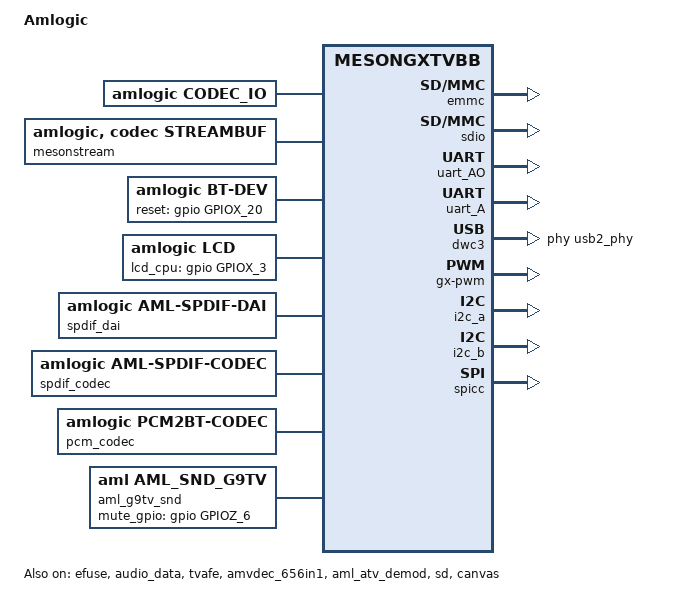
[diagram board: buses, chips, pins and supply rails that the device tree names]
/*
 * Amlogic Ltd. GXtvBaby Plaform
 *
 */

/dts-v1/;

#include <dt-bindings/interrupt-controller/arm-gic.h>
#include <dt-bindings/clock/gxtvbb.h>
#include <dt-bindings/gpio/gxtvbb.h>
#include <dt-bindings/gpio/gpio.h>
#include <dt-bindings/reset/aml_gxtvbb.h>
#include "mesongxtvbb.dtsi"

/ {
	model = "Amlogic";
	compatible = "amlogic, gxtvbb";
	interrupt-parent = <&gic>;
	#address-cells = <2>;
	#size-cells = <2>;

	aliases {
		serial0 = &uart_AO;
		serial1 = &uart_A;
	};

	memory@00000000 {
		device_type = "memory";
		linux,usable-memory = <0x0 0x1000000 0x0 0x7f000000>;
	};

	reserved-memory {
		#address-cells = <2>;
		#size-cells = <2>;
		ranges;
		/* global autoconfigured region for contiguous allocations */
		secmon_reserved:linux,secmon {
			compatible = "amlogic, aml_secmon_memory";
			reg = <0x0 0x10000000 0x0 0x200000>;
			no-map;
		};

		/*fb_reserved:linux,meson-fb {
			compatible = "amlogic, fb-memory";
			size = <0x0 0x2000000>;
			no-map;
		};*/

		di_reserved:linux,di {
			compatible = "amlogic, di-mem";
			size = <0x0 0x02200000>; //10x1920x1088x3/2=30M
			//no-map;
		};
		demod_reserved:linux,demod {
			compatible = "amlogic, demod-mem";
			size = <0x0 0x600000>; //20m
			//no-map;
		};

		ion_reserved:linux,ion-dev {
			compatible = "amlogic, idev-mem";
			size = <0x0 0x4000000>;
		};

		/*  PICDEC reserved memory */
		picdec_reserved:linux,picdec {
			compatible = "amlogic, picdec_memory";
			size = <0x0 0x4000000>;
			//no-map;
		};
		/*  POST PROCESS MANAGER */
		ppmgr_reserved:linux,ppmgr {
			compatible = "amlogic, ppmgr_memory";
			size = <0x0 0x2000000>;
		};
		/* AVC Encode CMA pool */
		avc_cma_reserved:linux,avc_cma {
			compatible = "shared-dma-pool";
			linux,phandle = <1>;
			reusable;
			size = <0x0 0x2400000>;
			alignment = <0x0 0x400000>;
			linux,contiguous-region;
		};
		/* vdec CMA pool */
		vdec_cma_reserved:linux,vdec_cma {
			compatible = "shared-dma-pool";
			linux,phandle = <2>;
			reusable;
			size = <0x0 0x12000000>;
			alignment = <0x0 0x400000>;
		};

		jpegenc_cma_reserved:linux,jpegenc_cma {
			compatible = "shared-dma-pool";
			linux,phandle = <3>;
			reusable;
			size = <0x0 0x2400000>;
			alignment = <0x0 0x400000>;
		};
		/*  vdin0 CMA pool */
		vdin0_cma_reserved:linux,vdin0_cma {
			compatible = "shared-dma-pool";
			linux,phandle = <4>;
			reusable;
			/* 3840x2160x2x4  =64+4 M */
			size = <0x0 0x04400000>;
			alignment = <0x0 0x400000>;
		};
		/*  vdin1 CMA pool */
		vdin1_cma_reserved:linux,vdin1_cma {
			compatible = "shared-dma-pool";
			linux,phandle = <5>;
			reusable;
			/* 1920x1080x2x4  =16+4 M */
			size = <0x0 0x01400000>;
			alignment = <0x0 0x400000>;
		};
		/*  tvafe CMA pool */
		tvafe_cma_reserved:linux,tvafe_cma {
			compatible = "shared-dma-pool";
			linux,phandle = <6>;
			reusable;
			/* 5 M */
			size = <0x0 0x00800000>;
			alignment = <0x0 0x400000>;
		};
	};

	meson-vout {
		compatible = "amlogic, meson-vout";
		dev_name = "meson-vout";
		status = "okay";
	};
	meson-fb {
		compatible = "amlogic, meson-fb";
		/*memory-region = <&fb_reserved>;*/
		dev_name = "meson-fb";
		status = "okay";
		interrupts = <0 3 1
			0 89 1>;
		interrupt-names = "viu-vsync", "rdma";
		mem_size = <0x01800000 0x00100000>; /* fb0/fb1 memory size */
		display_mode_default = "1080p60hz";
		scale_mode = <1>; /** 0:VPU free scale 1:OSD free scale 2:OSD super scale */
		display_size_default = <1920 1080 1920 3240 32>; //1920*1080*4*3 = 0x17BB000
		/*pxp_mode = <1>; /** 0:normal mode 1:pxp mode */
	};
	ge2d {
		compatible = "amlogic, ge2d";
		dev_name = "ge2d";
		status = "okay";
		interrupts = <0 150 1>;
		interrupt-names = "ge2d";
		clocks = <&clock CLK_VAPB_0>,
			<&clock CLK_GE2D>;
		clock-names = "clk_vapb_0",
				"clk_ge2d";
		resets = <&clock GCLK_IDX_GE2D>;
		reset-names = "ge2d";
	};
	codec_io {
		compatible = "amlogic, codec_io";
		#address-cells=<2>;
		#size-cells=<2>;
		ranges;
		io_cbus_base{
			reg = <0x0 0xC0800000 0x0 0xb00000>;
		};
		io_dos_base{
			reg = <0x0 0xc8820000 0x0 0x10000>;
		};
		io_hiubus_base{
			reg = <0x0 0xc883c000 0x0 0x2000>;
		};
		io_aobus_base{
			reg = <0x0 0xc8100000 0x0 0x100000>;
		};
		io_vcbus_base{
			reg = <0x0 0xd0100000 0x0 0x40000>;
		};
		io_dmc_base{
			reg = <0x0 0xc8838000 0x0 0x2000>;
		};
	};

	mesonstream {
		compatible = "amlogic, codec, streambuf";
		dev_name = "mesonstream";
		status = "okay";
		resets = <&clock GCLK_IDX_HIU_PARSER_TOP
			&clock GCLK_IDX_VPU_INTR
			&clock GCLK_IDX_DEMUX
			&clock GCLK_IDX_DOS>;
		reset-names = "parser_top",
			"vpu_intr",
			"demux",
			"vdec";
	};

	amvideocap {
		compatible = "amlogic, amvideocap";
		dev_name = "amvideocap.0";
		status = "okay";
	};

	ion_dev {
		compatible = "amlogic, ion_dev";
		memory-region = <&ion_reserved>;
	};

	vdec {
		compatible = "amlogic, vdec";
		memory-region = <&vdec_cma_reserved>;
		dev_name = "vdec.0";
		status = "okay";
		interrupts = <0 3 1
			0 23 1
			0 32 1
			0 43 1
			0 44 1
			0 45 1>;
		interrupt-names = "vsync",
			"demux",
			"parser",
			"mailbox_0",
			"mailbox_1",
			"mailbox_2";
	};
	picdec {
		   compatible = "amlogic, picdec";
		   memory-region = <&picdec_reserved>;
		   dev_name = "picdec";
		   status = "okay";
	};
	ppmgr {
		compatible = "amlogic, ppmgr";//to match of_device_id's compatible member
		memory-region = <&ppmgr_reserved>;
		dev_name = "ppmgr";
		status = "okay";
	};
	deinterlace {
		compatible = "amlogic, deinterlace";
		status = "okay";
		memory-region = <&di_reserved>;
		interrupts = <0 46 1
				0 6 1>;
		interrupt-names = "de_irq",
				"timerc";
		buffer-size = <3133440>;	//1920x1088x3/2
		hw-version = <2>;
	};
	vdin0 {
		compatible = "amlogic, vdin";
		memory-region = <&vdin0_cma_reserved>;
		dev_name = "vdin0";
		status = "ok";
		reserve-iomap = "true";
		interrupts = <0 83 1>;
		rdma-irq = <2>;
		clocks = <&clock CLK_XTAL>,
			<&clock CLK_VDIN_MEAS_CLK>;
		clock-names = "xtal", "cts_vdin_meas_clk";
		vdin_id = <0>;
	};
	vdin1 {
		compatible = "amlogic, vdin";
		memory-region = <&vdin1_cma_reserved>;
		dev_name = "vdin1";
		status = "ok";
		reserve-iomap = "true";
		interrupts = <0 85 1>;
		rdma-irq = <4>;
		clocks = <&clock CLK_XTAL>,
			<&clock CLK_VDIN_MEAS_CLK>;
		clock-names = "xtal", "cts_vdin_meas_clk";
		vdin_id = <1>;
	};
	hdmirx {
		compatible = "amlogic, hdmirx";
		dev_name = "hdmirx";
		status = "ok";
		interrupts = <0 56 1>;
		clocks = <&clock CLK_HDMIRX_MODET_CLK>,
			<&clock CLK_HDMIRX_CFG_CLK>,
			<&clock CLK_HDMIRX_ACR_REF_CLK>,
			<&clock CLK_HDMIRX_AUDMEAS_CLK>,
			<&clock CLK_XTAL>,
			<&clock CLK_FPLL_DIV5>;
		clock-names = "hdmirx_modet_clk",
			"hdmirx_cfg_clk",
			"hdmirx_acr_ref_clk",
			"hdmirx_audmeas_clk",
			"xtal",
			"fclk_div5";
		hdmirx_id = <0>;
 	};
	tvafe {
		compatible = "amlogic, tvafe";
		memory-region = <&tvafe_cma_reserved>;
		dev_name = "tvafe";
		status = "ok";
		reg = <0x0 0xc8842000 0x0 0x2000>;
		reserve-iomap = "true";
		tvafe_id = <0>;
		pinctrl-names = "default";
		tvafe_pin_mux = < /*!!particular sequence, no more and no less!!!*/
                        2       /*// TVAFE_CVBS_IN1,  //CVBS_IN0 = 0,*/
                        1       /*// TVAFE_CVBS_IN0,    //CVBS_IN1,*/
                        3       /*// TVAFE_CVBS_IN2,  //CVBS_IN2*/
                        4       /*// TVAFE_CVBS_IN3,    //CVBS_IN3,*/
		>;
	};
	amvdec_656in1 {
		compatible = "amlogic, amvdec_656in";
		dev_name = "amvdec_656in1";
		status = "ok";
		reg = <0x0 0xd0050000 0x0 0x7c>;
		clocks = <&clock CLK_FPLL_DIV2>,
			<&clock CLK_BT656_CLK1>;
		clock-names = "fclk_div2", "cts_bt656_clk1";
		bt656_id = <1>;
	};
	dvb {
		compatible = "amlogic, dvb";
		dev_name = "dvb";
		status = "okay";
		/*"parallel","serial","disable"*/
		ts2 = "parallel";
		ts2_control = <0>;
		ts2_invert = <0>;
		resets = <&clock GCLK_IDX_DEMUX
				&clock GCLK_IDX_ASYNC_FIFO
				&clock GCLK_IDX_AHB_ARB0
				&clock GCLK_IDX_HIU_PARSER_TOP>;
		reset-names = "demux", "asyncfifo", "ahbarb0", "uparsertop";
	};
	dvbfe {
		compatible = "amlogic, dvbfe";
		dev_name = "dvbfe";
		status = "okay";
		dtv_demod0 = "AMLDEMOD";
		fe0_dtv_demod = <0>;
		fe0_ts = <2>;
		fe0_dev = <0>;
		dtv_demod0_mem = <0>;
		memory-region = <&demod_reserved>;
		tuner0 = "mxl661_tuner";
		tuner0_i2c_adap_id = <1>;
		tuner0_i2c_addr = <0x60>;
		//tuner0_reset_value = <0>;
		//tuner0_reset_gpio =  "GPIOY_10" ;  /*GPIOX_8   76*/
		fe0_tuner = <0>;
		atv_demod0 = "aml_atv_demod";
		fe0_atv_demod = <0>;
	};
	aml_atv_demod {
		compatible = "amlogic, aml_atv_demod";
		dev_name = "aml_atv_demod";
		status = "okay";
		reg = <0x0 0xc8840000 0x0 0x2000>;
		reg_23cf = <0x88188832>;/*default:0x88188832;r840 on haier:0x48188832*/
	};
	aml_local_dimming {
		compatible = "amlogic, aml_local_dimming";
		dev_name = "aml_local_dimming";
		status = "disable";
	};
	amlvecm {
		compatible = "amlogic, vecm";
		dev_name = "aml_vecm";
		status = "okay";
		gamma_en = <1>;/*1:enabel ;0:disable*/
		wb_en = <1>;/*1:enabel ;0:disable*/
		cm_en = <1>;/*1:enabel ;0:disable*/
	};

	amvenc_avc{
		compatible = "amlogic, amvenc_avc";
		//memory-region = <&amvenc_avc_reserved>;
		memory-region = <&avc_cma_reserved>;
		dev_name = "amvenc_avc";
		status = "okay";
		interrupts = <0 45 1>;
		interrupt-names = "mailbox_2";
	};

	jpegenc{
		compatible = "amlogic, jpegenc";
		//memory-region = <&jpegenc_reserved>;
		memory-region = <&jpegenc_cma_reserved>;
		dev_name = "jpegenc";
		status = "okay";
		interrupts = <0 45 1>;
		interrupt-names = "mailbox_2";
	};


	vpu {
		compatible = "amlogic, vpu";
		dev_name = "vpu";
		status = "ok";
		clk_level = <7>;
		/**	0: 100.0M    1: 166.7M    2: 200.0M
			3: 250.0M    4: 333.3M    5: 400.0M
			6: 500.0M    7: 666.7M */
	};
	bt-dev{
		compatible = "amlogic, bt-dev";
		dev_name = "bt-dev";
		status = "ok";
		gpio_reset = <&gpio       GPIOX_20       GPIO_ACTIVE_HIGH>;
	};


    sd{
        compatible = "amlogic, aml_sd_emmc";
        dev_name = "aml_newsd.0";
        status = "okay";
        reg = <0x0 0xd0072000 0x0 0x2000>;
        interrupts = <	0 217 1
        				0 67 1
        				0 69 1>;
        pinctrl-names = "sd_clk_cmd_pins", "sd_all_pins";
        pinctrl-0 = <&sd_clk_cmd_pins>;
        pinctrl-1 = <&sd_all_pins>;
		sd{
	   		status = "okay";
	   		pinname = "sd";
	   		ocr_avail = <0x00200080>; // 3.3:0x200000, 1.8+3.3:0x00200080
	   		caps = "MMC_CAP_4_BIT_DATA","MMC_CAP_MMC_HIGHSPEED",
					"MMC_CAP_SD_HIGHSPEED";
	   				//,"MMC_CAP_UHS_SDR12",
	   				//"MMC_CAP_UHS_SDR25","MMC_CAP_UHS_SDR50",
	   				//"MMC_CAP_UHS_SDR104","MMC_CAP_NONREMOVABLE";
	   		f_min = <300000>;
	   		f_max = <100000000>;
	   		max_req_size = <0x20000>;          /**128KB*/
			gpio_dat3 = <&gpio       CARD_4       GPIO_ACTIVE_HIGH>;
			jtag_pin =  <&gpio       CARD_0       GPIO_ACTIVE_HIGH>;
			gpio_cd =  <&gpio       CARD_6       GPIO_ACTIVE_HIGH>;
			irq_in = <3>;
			irq_out = <5>;
	   		card_type = <5>; /* 0:unknown, 1:mmc card(include eMMC), 2:sd card(include tSD), 3:sdio device(ie:sdio-wifi), 4:SD combo (IO+mem) card, 5:NON sdio device(means sd/mmc card), other:reserved */
		};
    };
    emmc{
        compatible = "amlogic, aml_sd_emmc";
        dev_name = "aml_newsd.0";
        status = "okay";
        reg = <0x0 0xd0074000 0x0 0x2000>;
        interrupts = <	0 218 1>;
        pinctrl-names = "emmc_clk_cmd_pins", "emmc_all_pins";
        pinctrl-0 = <&emmc_clk_cmd_pins>;
        pinctrl-1 = <&emmc_all_pins>;
        emmc{
            status = "okay";
            pinname = "emmc";
            ocr_avail = <0x200080>;          /**VDD voltage 3.3 ~ 3.4 */
            caps = "MMC_CAP_8_BIT_DATA","MMC_CAP_MMC_HIGHSPEED",
            		"MMC_CAP_SD_HIGHSPEED", "MMC_CAP_NONREMOVABLE"/*,
           		"MMC_CAP_ERASE", "MMC_CAP_HW_RESET"*/;
            //caps2 = "MMC_CAP2_HS200_1_8V_SDR";
			f_min = <400000>;
            f_max = <50000000>;
            max_req_size = <0x20000>;          /**256KB*/
//            gpio_dat3 = "BOOT_3"
		gpio_dat3 = <&gpio       BOOT_3      GPIO_ACTIVE_HIGH>;
            card_type = <1>; /* 1:mmc card(include eMMC), 2:sd card(include tSD), */
	};
    };
	sdio{
		compatible = "amlogic, aml_sd_emmc";
		dev_name = "aml_newsd.0";
		status = "okay";
		reg = <0x0 0xd0070000 0x0 0x2000>;
		interrupts = <	0 216 1>;
		pinctrl-names =  "sdio_clk_cmd_pins", "sdio_all_pins";
		pinctrl-0 = <&sdio_clk_cmd_pins>;
		pinctrl-1 = <&sdio_all_pins>;
		sdio{
			status = "okay";
			pinname = "sdio";
			ocr_avail = <0x00200080>;  /*3.3:0x200000, 1.8+3.3:0x00200080 */
			caps = "MMC_CAP_4_BIT_DATA","MMC_CAP_MMC_HIGHSPEED",
				"MMC_CAP_SD_HIGHSPEED", "MMC_CAP_NONREMOVABLE",
				"MMC_CAP_UHS_SDR12","MMC_CAP_UHS_SDR25",
				"MMC_CAP_UHS_SDR50","MMC_CAP_UHS_SDR104",
				"MMC_PM_KEEP_POWER";
				f_min = <400000>;
				f_max = <200000000>;
				max_req_size = <0x20000>;          /**128KB*/
				card_type = <3>;  /*3:sdio device(ie:sdio-wifi), 4:SD combo (IO+mem) card, */
		};
	};
	nand{
		compatible = "amlogic, aml_nand";
		dev_name = "nand";
		status = "disabled";
		reg = <0x0 0xd0074800 0x0 0x200>;
		interrupts = <	0 34 1 >;
		pinctrl-names = "nand_rb_mod","nand_norb_mod", "nand_cs_pins_only";
		pinctrl-0 = <&conf_nand_pulldown &conf_nand_pullup &all_nand_pins>;
		pinctrl-1 = <&conf_nand_pulldown &conf_nand_pullup &all_nand_pins>;
		pinctrl-2 = <&nand_cs_pins>;
		device_id = <0>;
		plat-names = "nandnormal";
		plat-num = <1>;
		plat-part-0 = <&normal>;
		normal: normal{
			enable_pad ="ce0","ce1","ce2","ce3";
			busy_pad = "rb0";
		};
	};
	partitions: partitions{
        parts = <11>;
		part-0 = <&logo>;
		part-1 = <&recovery>;
		part-2 = <&param>;
		part-3 = <&tee>;
		part-4 = <&crypt>;
		part-5 = <&misc>;
		part-6 = <&boot>;
		part-7 = <&system>;
		part-8 = <&cache>;
		part-9 = <&cri_data>;
		part-10 = <&data>;

		logo:logo{
			pname = "logo";
			size = <0x0 0x2000000>;
			mask = <1>;
		};
		recovery:recovery{
			pname = "recovery";
			size = <0x0 0x2000000>;
			mask = <1>;
		};
		param:param{
			pname = "param";
			size = <0x0 0x8000000>;
			mask = <2>;
		};
		tee:tee{
			pname = "tee";
			size = <0x0 0x800000>;
			mask = <1>;
		};
		crypt:crypt{
			pname = "crypt";
			size = <0x0 0x2000000>;
			mask = <1>;
		};
		misc:misc{
			pname = "misc";
			size = <0x0 0x2000000>;
			mask = <1>;
		};
		boot:boot
		{
			pname = "boot";
			size = <0x0 0x2000000>;
			mask = <1>;
		};
		system:system
		{
			pname = "system";
			size = <0x0 0x40000000>;
			mask = <1>;
		};
		cache:cache
		{
			pname = "cache";
			size = <0x0 0x20000000>;
			mask = <2>;
		};
		cri_data:cri_data
		{
			pname = "cri_data";
			size = <0x0 0x1000000>;
			mask = <2>;
		};
		data:data
		{
			pname = "data";
			size = <0xffffffff 0xffffffff>;
			mask = <4>;
		};
	};

	ampmu4 {
		compatible = "amlogic, pmu4_prober";
		#address-cells = <1>;
		#size-cells = <0>;

		pmu4 {
			compatible = "amlogic, pmu4";
			sub_type = "aml_pmu4";
			i2c_bus = "i2c_bus_b";
			reg = <0x35>;
			status = "disable";
		};
	};

	amhdmitx: amhdmitx{
		compatible = "amlogic, amhdmitx";
		dev_name = "amhdmitx";
		status = "okay";
		pinctrl-names="hdmitx_hpd", "hdmitx_ddc";
		pinctrl-0=<&hdmitx_hpd>;
		pinctrl-1=<&hdmitx_ddc>;
		vend-data = <&vend_data>;
		/* HPD, 57 + 32 = 89; CEC, 151 + 32 = 183*/
		interrupts = <0 57 1>;
		interrupt-names = "hdmitx_hpd";
		clocks = <&clock CLK_HDMITX_SYS &clock CLK_HDMITX_ENCP
			&clock CLK_HDMITX_ENCI &clock CLK_HDMITX_PIXEL
			&clock CLK_HDMITX_PHY &clock CLK_VID>;
		clock-names = "hdmitx_clk_sys", "hdmitx_clk_encp", "hdmitx_clk_enci",
			"hdmitx_clk_pixel", "hdmitx_clk_phy", "hdmitx_clk_vid";

		vend_data: vend_data{
			compatible = "amlogic, amlogic-cec";
			status = "okay";
			vendor_name = "Amlogic"; /* Max Chars: 8     */
			vendor_id = <0x000000>; /* Refer to http://standards.ieee.org/develop/regauth/oui/oui.txt   */
			product_desc = "GXBB Mbox"; /* Max Chars: 16    */
			cec_osd_string = "MBox"; /* Max Chars: 14    */
			interrupts = <0 199 1>;
			interrupt-names = "hdmitx_cec";
			pinctrl-names = "hdmitx_aocec";
			pinctrl-0=<&hdmitx_aocec>;
		};
	};
	tvout {
		compatible = "amlogic, tvout";
		dev_name = "tvout";
		status = "disabled";
	};

	uart_AO: serial@c81004c0 {
		compatible = "amlogic, meson-uart";
		reg = <0x0 0xc81004c0 0x0 0x14>;
		interrupts = <0 193 1>;
		status = "okay";
		clocks = <&clock CLK_XTAL>;
		clock-names = "clk_uart";
		fifosize = < 64 >;
		pinctrl-names = "default";
		pinctrl-0 = <&ao_a_uart_pins>;
	};

	uart_A: serial@c11084c0 {
		compatible = "amlogic, meson-uart";
		reg = <0x0 0xc11084c0 0x0 0x14>;
		interrupts = <0 26 1>;
		status = "okay";
		clocks = <&clock CLK_XTAL>;
		clock-names = "clk_uart";
		fifosize = < 128 >;
		pinctrl-names = "default";
		pinctrl-0 = <&a_uart_pins>;
	};

       dwc3: dwc@c9000000 {
               compatible = "synopsys, dwc3";
               reg = <0x0 0xc9000000 0x0 0x200000>;
               interrupts = <0 30 4>;
               usb-phy = <&usb2_phy>, <&usb3_phy>;
               cpu-type = "gxbabytv";
               clock-src = "usb3.0";
       };

       usb2_phy: usb2phy@d007800 {
               compatible = "amlogic, amlogic-usb2";
               portnum = <4>;
               reg = <0x0 0xd0078000 0x0 0x80>;
       };

       usb3_phy: usb3phy@0078080 {
               compatible = "amlogic, amlogic-usb3";
               portnum = <1>;
               reg = <0x0 0xd0078080 0x0 0x20>;
       };

	canvas{
		compatible = "amlogic, meson, canvas";
		dev_name = "amlogic-canvas";
		status = "ok";
		reg = <0x0 0xc8838000 0x0 0x400>;
	};

	rdma{
		compatible = "amlogic, meson, rdma";
		dev_name = "amlogic-rdma";
		status = "ok";
		interrupts = <0 89 1>;
		interrupt-names = "rdma";
	};

	lcd{
		compatible = "amlogic, lcd";
		dev_name = "lcd";
		mode = "tv";
		status = "okay";
		resets = <&clock GCLK_IDX_VCLK2_ENCL &clock GCLK_IDX_VCLK2_VENCL>;
		reset-names = "encl","vencl";
		interrupts = <0 78 1 0 3 1>;
		interrupt-names = "vbyone","vbyone_vsync";
		pinctrl-names = "vbyone";
		pinctrl-0 = <&lcd_vbyone_pins>;

		/* power type:(0=cpu, 1=pmu, 2=signal, 3=extern, 0xff=ending) */
		/* power index:(point gpios_index, or extern_index, 0xff=invalid) */
		/* power value:(0=output low, 1=output high, 2=input) */
		/* power delay:(unit in ms) */
		lcd_cpu-gpios = <&gpio GPIOX_3 GPIO_ACTIVE_HIGH>;
		lcd_cpu_gpio_names = "GPIOX_3";

		lvds_0{
			model_name = "public";
			interface = "lvds"; /* lcd_interface(lvds, vbyone) */
			basic_setting = <1920 1080 2200 1125 8 16 9>; /* h_active, v_active, h_period, v_period, lcd_bits, screen_widht, screen_height */
			lcd_timing = <44 148 5 36>; /* hs_width, hs_bp, vs_width, vs_bp */
			clk_attr = <0 0 1>; /** fr_adj_type(0=clock, 1=htotal, 2=vtotal), clk_ss_level, clk_auto_generate */
			lvds_attr = <1 1 0 0>; /** lvds_repack, dual_port, pn_swap, port_swap */
			power_on_step = <2 0 0 50
					0xff 0 0 0>; /* type, index, value, delay */
			power_off_step = <2 0 0 50
					0xff 0 0 0>; /* type, index, value, delay */
			backlight_index = <0>;
		};

		vbyone_0{
			model_name = "BOE_HV550QU2";
			interface = "vbyone"; /* lcd_interface(lvds, vbyone) */
			basic_setting = <3840 2160 4400 2250 10 16 9>; /* h_active, v_active, h_period, v_period, lcd_bits, screen_widht, screen_height */
			lcd_timing = <33 477 6 81>; /* hs_width, hs_bp, vs_width, vs_bp */
			clk_attr = <0 0 1>; /** fr_adj_type(0=clock, 1=htotal, 2=vtotal), clk_ss_level, clk_auto_generate */
			vbyone_attr = <8 2 4 4>; /** lane_count, region_num, byte_mode, color_fmt */
			power_on_step = <2 0 0 50
					0xff 0 0 0>; /* type, index, value, delay */
			power_off_step = <2 0 0 50
					0xff 0 0 0>; /* type, index, value, delay */
			backlight_index = <0>;
		};

		vbyone_1{
			model_name = "LG_RDL550WY";
			interface = "vbyone"; /* lcd_interface(lvds, vbyone) */
			basic_setting = <3840 2160 4400 2250 10 16 9>; /* h_active, v_active, h_period, v_period, lcd_bits, screen_widht, screen_height */
			lcd_timing = <33 477 6 81>; /* hs_width, hs_bp, vs_width, vs_bp */
			clk_attr = <2 0 1>; /** fr_adj_type(0=clock, 1=htotal, 2=vtotal), clk_ss_level, clk_auto_generate */
			vbyone_attr = <8 2 4 4>; /** lane_count, region_num, byte_mode, color_fmt */
			power_on_step = <2 0 0 50
					0xff 0 0 0>; /* type, index, value, delay */
			power_off_step = <2 0 0 50
					0xff 0 0 0>; /* type, index, value, delay */
			backlight_index = <0>;
		};

		vbyone_2{
			model_name = "INL_V580DJ2";
			interface = "vbyone"; /* lcd_interface(lvds, vbyone) */
			basic_setting = <3840 2160 4400 2250 10 16 9>; /* h_active, v_active, h_period, v_period, lcd_bits, screen_widht, screen_height */
			lcd_timing = <33 477 6 81>; /* hs_width, hs_bp, vs_width, vs_bp */
			clk_attr = <2 0 1>; /** fr_adj_type(0=clock, 1=htotal, 2=vtotal), clk_ss_level, clk_auto_generate */
			vbyone_attr = <8 1 4 4>; /** lane_count, region_num, byte_mode, color_fmt */
			power_on_step = <2 0 0 50
					0xff 0 0 0>; /* type, index, value, delay */
			power_off_step = <2 0 0 50
					0xff 0 0 0>; /* type, index, value, delay */
			backlight_index = <0>;
		};
	};

	lcd_extern{
		compatible = "amlogic, lcd_extern";
		dev_name = "lcd_extern";
		status = "okay";

		extern_0{
			index = <0>;
			extern_name = "i2c_T5800Q";
			status = "disabled";
			type = <0>; /** lcd_extern_driver type: 0=i2c, 1=spi, 2=mipi */
			i2c_address = <0x1c>; /** 7bit i2c address */
			i2c_bus = "i2c_bus_d";
		};
	};

	backlight{
		compatible = "amlogic, backlight";
		dev_name = "backlight";
		mode = "tv";
		status = "disabled";
		pinctrl-names = "default","pwm_vs";
		pinctrl-0 = <&bl_pwm_pins>;
		pinctrl-1 = <&bl_pwm_vs_pins>;

		bl-gpios = <&gpio GPIOY_6 GPIO_ACTIVE_HIGH
			&gpio GPIOY_7 GPIO_ACTIVE_HIGH>;
		bl_gpio_names = "GPIOY_6","GPIOY_7";

		backlight_0{
			index = <0>;
			bl_name = "backlight_0";
			bl_level_default_uboot_kernel = <100 100>;
			bl_level_max_min = <255 10>;

			bl_ctrl_method = <1>; /** 0=gpio, 1=pwm, 2=extern */
			bl_en_gpio_on_off = <0 0 1>; /** index(point to bl-gpios, 0xff=invalid), on/off_value(1=output high, 0=output low) **/
			bl_power_on_off_delay = <200 200>; /** unit: ms */

			bl_pwm_method = <0>; /** 0=negative, 1=positive */
			bl_pwm_port = "PWM_B"; /* PWM_A, PWM_B, PWM_C, PWM_D, PWM_VS */
			bl_pwm_freq = <1000>; /* pwm_vs: 1~4(vfreq multiple), other pwm: real freq(unit: Hz) */
			bl_pwm_duty_max_min = <100 25>; /* 100% - 25%*/
			bl_pwm_gpio_off = <1 1>; /** index(point to bl-gpios, 0xff=invalid), off_value(1=output high, 0=output low) **/
			bl_pwm_on_off_delay  = <200 200>; /* unit: ms */
		};
		backlight_1{
			index = <1>;
			bl_name = "backlight_1";
			bl_level_default_uboot_kernel = <100 100>;
			bl_level_max_min = <255 10>;

			bl_ctrl_method = <1>; /** 0=gpio, 1=pwm, 2=extern */
			bl_en_gpio_on_off = <0 0 1>; /** index(point to bl-gpios, 0xff=invalid), on/off_value(1=output high, 0=output low) **/
			bl_power_on_off_delay = <200 200>; /** unit: ms */

			bl_pwm_method = <0>; /** 0=negative, 1=positive */
			bl_pwm_port = "PWM_VS"; /* PWM_A, PWM_B, PWM_C, PWM_D, PWM_VS */
			bl_pwm_freq = <2>; /* pwm_vs: 1~4(vfreq multiple), other pwm: real freq(unit: Hz) */
			bl_pwm_duty_max_min = <100 25>; /* 100% - 25%*/
			bl_pwm_gpio_off = <1 1>; /** index(point to bl-gpios, 0xff=invalid), off_value(1=output high, 0=output low) **/
			bl_pwm_on_off_delay  = <200 200>; /* unit: ms */
		};
	};

	/* AUDIO MESON8 DEVICES */
	i2s_dai: I2S {
		#sound-dai-cells = <0>;
		resets = <
			&clock GCLK_IDX_AIU_AI_TOP_GLUE
			&clock GCLK_IDX_AUD_BUF_ABD
			&clock GCLK_IDX_AIU_I2S_OUT
			&clock GCLK_IDX_AIU_AMCLK_MEASURE
			&clock GCLK_IDX_AIU_AIFIFO2
			&clock GCLK_IDX_AIU_AUD_MIXER
			&clock GCLK_IDX_AIU_MIXER_REG
			&clock GCLK_IDX_AIU_ADC
			&clock GCLK_IDX_AIU_TOP_LEVEL
			&clock GCLK_IDX_AIU_AOCLK
			&clock GCLK_IDX_AUD_IN
		>;
		reset-names =
			"top_glue",
			"aud_buf",
			"i2s_out",
			"amclk_measure",
			"aififo2",
			"aud_mixer",
			"mixer_reg",
			"adc",
			"top_level",
			"aoclk",
			"aud_in";
		clocks = <&clock CLK_MPLL0>,
			<&clock CLK_AMCLK>;
		clock-names = "mpll0", "mclk";
		compatible = "amlogic, aml-i2s-dai";
	};
	spdif_dai: SPDIF {
		#sound-dai-cells = <0>;
		compatible = "amlogic, aml-spdif-dai";
		resets = <
			&clock GCLK_IDX_AIU_IEC958
			&clock GCLK_IDX_AIU_ICE958_AMCLK
		>;
		reset-names =
			"iec958",
			"iec958_amclk";
		clocks = <&clock CLK_MPLL1>,
			<&clock CLK_I958>,
			<&clock CLK_AMCLK>,
			<&clock CLK_SPDIF>,
			<&clock CLK_81>;
		clock-names = "mpll1", "i958", "mclk", "spdif", "clk_81";
	};
	pcm_dai: PCM {
		#sound-dai-cells = <0>;
		compatible = "amlogic, aml-pcm-dai";
	};
	i2s_plat: i2s_platform {
		compatible = "amlogic, aml-i2s";
	};
	pcm_plat: pcm_platform {
		compatible = "amlogic, aml-pcm";
	};
	spdif_codec: spdif_codec{
		#sound-dai-cells = <0>;
		compatible = "amlogic, aml-spdif-codec";
		pinctrl-names = "aml_audio_spdif";
		pinctrl-0 = <&audio_spdif_pins>;
	};
	pcm_codec: pcm_codec{
		#sound-dai-cells = <0>;
		compatible = "amlogic, pcm2BT-codec";
	};
	/* endof AUDIO MESON8 DEVICES */

	/* AUDIO board specific */
	dummy_codec:dummy{
		#sound-dai-cells = <0>;
		compatible = "amlogic, aml_dummy_codec";
		status = "okay";
	};
	pmu4_codec:pmu4{
		#sound-dai-cells = <0>;
		compatible = "amlogic, aml_pmu4_codec";
		status = "disable";
	};
	aml_g9tv_snd {
		compatible = "aml, aml_snd_g9tv";
		status = "okay";
		aml-sound-card,format = "i2s";
		aml_sound_card,name = "AML-G9TVAUDIO";
		pinctrl-names = "aml_snd_g9tv";
		pinctrl-0 = <&audio_pins>;
		mute_gpio-gpios = <&gpio GPIOZ_6 GPIO_ACTIVE_HIGH>;
		cpu_list = <&cpudai0 &cpudai1 &cpudai2>;
		codec_list = <&codec0 &codec1 &codec2>;
		plat_list = <&i2s_plat &i2s_plat &pcm_plat>;
		cpudai0: cpudai0 {
			sound-dai = <&i2s_dai>;
		};
		cpudai1: cpudai1 {
			sound-dai = <&spdif_dai>;
		};
		cpudai2: cpudai2 {
			sound-dai = <&pcm_dai>;
		};
		codec0: codec0 {
			//sound-dai = <&pmu4_codec>;
			sound-dai = <&dummy_codec>;
		};
		codec1: codec1 {
			sound-dai = <&spdif_codec>;
		};
		codec2: codec2 {
			sound-dai = <&pcm_codec>;
		};
 	};
	amaudio2 {
		compatible = "amlogic, aml_amaudio2";
		status = "okay";
		interrupts = <0 48 1>;
 	};

	ethmac: ethernet@0xc9410000{
		//compatible = "amlogic, gxbb-rmii-dwmac";
		reg = <0x0 0xc9410000 0x0 0x10000
			0x0 0xc8834540 0x0 0x8>;
		interrupts = <0 8 1>;
		phy-mode= "rmii";
		pinctrl-names = "eth_pins";
		pinctrl-0 = <&eth_pins>;
		#rst_pin-gpios = <&gpio GPIOZ_14 0>;
		mc_val = <0x1800>;
		resets = <&clock GCLK_IDX_ETHERNET>;
		reset-names = "ethpower";
		interrupt-names = "macirq";
		clocks = <&clock CLK_81>;
		clock-names = "ethclk81";
	};

	gx-pwm {
		compatible = "amlogic, gx-pwm";
		status = "okay";
		pwm-outputs = <0>,<1>,<2>,<3>,<4>,<5>,<6>,<7>;
		pinctrl-names = "pwm_a_pins";
		//pinctrl-0 = <&pwm_a_pins>;
		reg = <0x0 0xc1108550 0x0 0x30>,
				<0x0 0xc8100550 0x0 0x10>;
		clocks = <&clock CLK_XTAL>;
	};

	/* END OF AUDIO board specific */
};

	&i2c_ao {
		status = "disabled";
		pinctrl-names="default";
		pinctrl-0=<&ao_i2c_master>;
	};

	&i2c_a {
		status = "okay";
		pinctrl-names="default";
		pinctrl-0=<&a_i2c_master>;
	};

	&i2c_b {
		status = "okay";
		pinctrl-names="default";
		pinctrl-0=<&b_i2c_master_pin1>;
	};
	&i2c_c {
		status = "disabled";
		pinctrl-names="default";
		pinctrl-0=<&c_i2c_master>;
	};
	&i2c_d {
		status = "disabled";
		pinctrl-names="default";
		pinctrl-0=<&d_i2c_master>;
	};
&pinmux {
	audio_pins:audio_pin{
		amlogic,setmask=<8 0x7C0>;
		amlogic,clrmask=<8 0x3800>;
		amlogic,pins = "GPIOZ_1","GPIOZ_2","GPIOZ_3","GPIOZ_4","GPIOZ_5";
	};

	audio_spdif_pins:audio_pin1{
		amlogic,setmask=<8 0x4>;
		amlogic,clrmask=<8 0x10
				 7 0x4000>;
		amlogic,pins = "GPIOH_10";
	};

	eth_pins: eth_pins{
		amlogic,setmask =<8 0x19cf8000>;
		amlogic,clrmask =<8 0x20000000>,
			<9 0x1806>;
		amlogic,pins="GPIOZ_7","GPIOZ_8","GPIOZ_9",
			"GPIOZ_10","GPIOZ_11","GPIOZ_14","GPIOZ_15",
			"GPIOZ_16","GPIOZ_19","GPIOZ_20";
	};

	lcd_vbyone_pins:lcd_vbyone_pin {
		amlogic,setmask = <7 0x00001800>;
		amlogic,clrmask = <7 0x00000606>;
		amlogic,pins = "GPIOH_1","GPIOH_2";
	};

	bl_pwm_pins:bl_pwm_pin {
		amlogic,setmask = <10 0x00010000>;
		amlogic,clrmask = <4  0x14800808
				   10 0x00020000>;
		amlogic,pins = "GPIOY_7";
	};

	bl_pwm_vs_pins:bl_pwm_vs_pin {
		amlogic,setmask = <10 0x00020000>;
		amlogic,clrmask = <4  0x14800808
				   10 0x00010000>;
		amlogic,pins = "GPIOY_7";
	};

	/*PWM-A*/
	/*pwm_a_pins:pwm_a_pins{
		amlogic,setmask=<10 0x200000>;
		amlogic,clrmask=<10 0x405000>;
		amlogic,pins="GPIOY_12";
	};*/
};
&efuse {
	status = "okay";
};
&audio_data{
	status = "okay";
};

	&spicc{
		status = "okay";
		pinctrl-names = "spicc_pulldown","spicc_pullup";
		pinctrl-0 = <&spicc_pulldown_h6h7h8 &spicc_pins_h6h7h8>;
		pinctrl-1 = <&spicc_pullup_h6h7h8 &spicc_pins_h6h7h8>;
		num_chipselect = <1>;
		cs-gpios = <&gpio GPIOH_9 GPIO_ACTIVE_HIGH>;
		#address-cells = <1>;
		#size-cells = <0>;
	};
